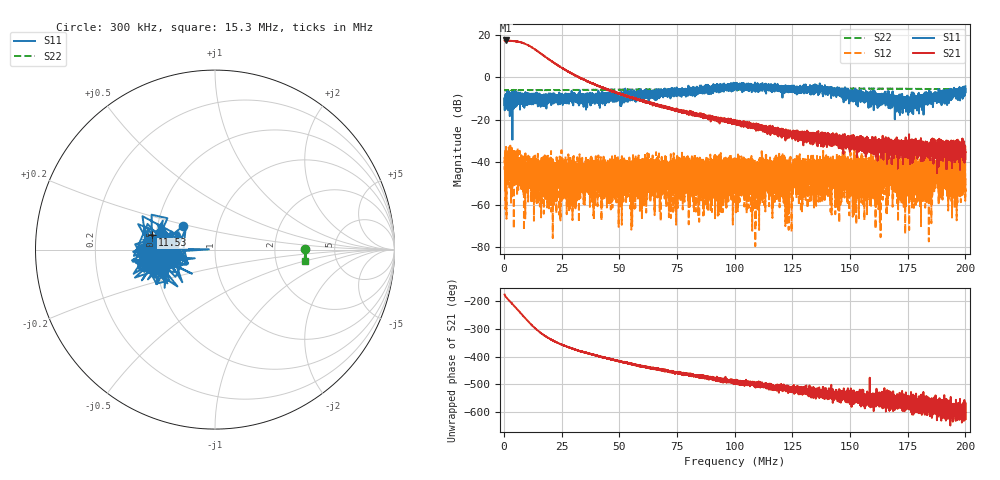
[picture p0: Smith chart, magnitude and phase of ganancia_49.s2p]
# Hz S DB R 50
! CMT, M5065, 19127446, 24.2.4/2
! Date: 10/29/2024 12:44:46 PM
! Data: Format (Calibration Info)
! Freq	S11:dB/Ang(F2)	S21:dB/Ang(F2)	S12:dB/Ang(F2)	S22:dB/Ang(F2)
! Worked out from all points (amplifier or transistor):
!   9000 points, 300 kHz to 200 MHz, reference 50 ohm
!   highest |S21| = 17.5 dB at 832.6 kHz (marker M1)
!   |S21| within 3 dB of that: start of sweep to 11.7 MHz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
!   unconditionally stable (mu >= 1): start of sweep to end of sweep
!   at 33.59 MHz: K = 43.53, MAG = 1.5 dB, |S12| = -42.2 dB
!   at 100.2 MHz: K = 250.44, MAG = -16.8 dB, |S12| = -41.9 dB
!   at 200 MHz: K = 3739.95, MAG = -34.9 dB, |S12| = -46.1 dB
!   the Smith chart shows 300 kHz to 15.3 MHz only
!   S11 on the Smith chart (normalised r, x): 300 kHz: 0.67, +0.18; 11.53 MHz: 0.47, +0.09; 15.3 MHz: 0.48, -0.09
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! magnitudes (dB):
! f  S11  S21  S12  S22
! 300 kHz  -13.1  17.4  -38.2  -6.0
! 832.6 kHz  -7.7  17.5  -40.1  -6.0
! 11.53 MHz  -8.9  14.6  -48.2  -5.9
! 15.3 MHz  -9.0  11.8  -41.5  -5.9
! 33.59 MHz  -8.5  -0.5  -42.2  -5.9
! 47.41 MHz  -8.6  -6.7  -47.2  -5.8
! 59.15 MHz  -7.9  -10.3  -57.2  -5.7
! 66.87 MHz  -9.5  -13.4  -37.0  -5.7
! 100.2 MHz  -2.7  -21.6  -41.9  -5.6
! 107.1 MHz  -3.2  -21.6  -60.7  -5.6
! 108.3 MHz  -4.4  -23.4  -50.7  -5.6
! 113.8 MHz  -4.2  -24.3  -44.7  -5.6
! 122.5 MHz  -5.6  -27.4  -51.6  -5.5
! 124.5 MHz  -5.7  -26.3  -41.2  -5.4
! 133.4 MHz  -5.9  -27.9  -48.1  -5.4
! 166.7 MHz  -9.0  -33.9  -41.1  -5.3
! 175.2 MHz  -17.7  -31.7  -41.6  -5.3
! 179.8 MHz  -9.3  -29.8  -48.4  -5.4
! 185.3 MHz  -10.6  -31.6  -42.4  -5.4
! 194.5 MHz  -7.1  -34.2  -44.3  -5.4
! 198.7 MHz  -6.7  -28.8  -43.0  -5.4
! 200 MHz  -4.1  -38.5  -46.1  -5.5
